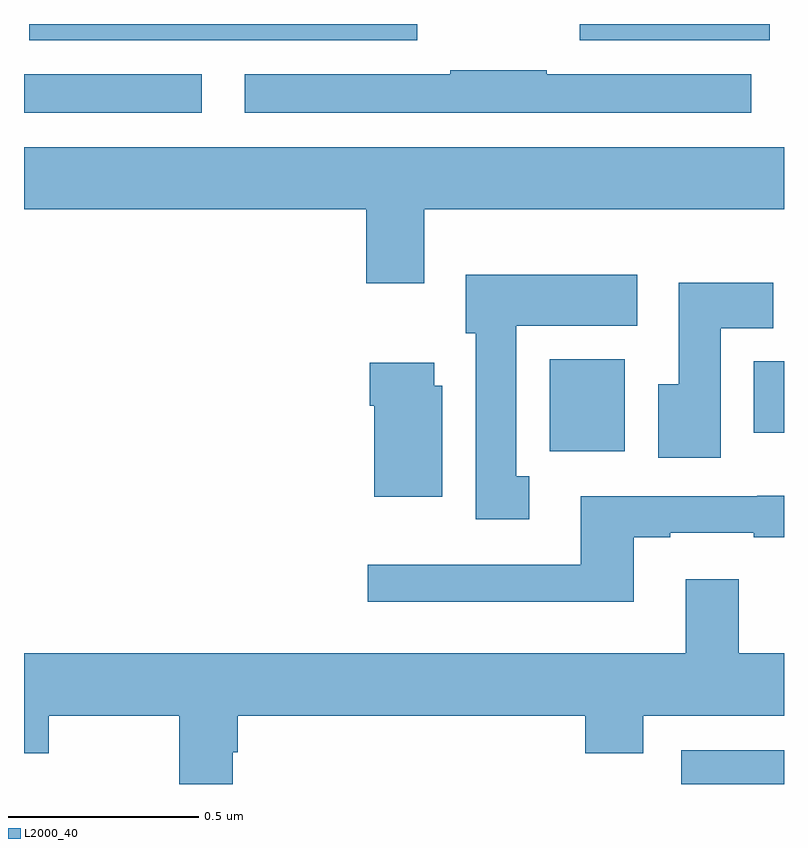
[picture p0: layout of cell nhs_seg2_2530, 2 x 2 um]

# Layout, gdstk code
import gdstk
lib = gdstk.Library(unit=1e-6, precision=1e-09)
def R(c, l, rs):  # rectangles x0, y0, x1, y1
    for r in rs: c.add(gdstk.rectangle(r[:2], r[2:], *l))
def P(c, l, *ps):  # polygons
    for p in ps: c.add(gdstk.Polygon(p, *l))
L2000_40 = (2000, 40)

nhs_seg2_2530 = lib.new_cell('nhs_seg2_2530')
R(nhs_seg2_2530, L2000_40, [(143.73,636.8,144,636.889), (143.384,637.676,143.581,637.918), (143.921,637.724,144,637.912), (142,638.567,142.468,638.668), (142.014,638.757,143.035,638.8), (143.463,638.757,143.963,638.8)])
P(nhs_seg2_2530, L2000_40, [(143.914,638.668),(143.375,638.668),(143.375,638.678),(143.122,638.678),(143.122,638.668),(142.581,638.668),(142.581,638.567),(143.914,638.567)],
  [(143.053,638.312),(144,638.312),(144,638.476),(142,638.476),(142,638.312),(142.901,638.312),(142.901,638.118),(143.053,638.118)],
  [(143.329,637.61),(143.296,637.61),(143.296,638.006),(143.614,638.006),(143.614,638.14),(143.162,638.14),(143.162,637.986),(143.189,637.986),(143.189,637.497),(143.329,637.497)],
  [(143.833,638),(143.972,638),(143.972,638.119),(143.723,638.119),(143.723,637.852),(143.669,637.852),(143.669,637.659),(143.833,637.659)],
  [(143.101,637.848),(143.08,637.848),(143.08,637.909),(142.91,637.909),(142.91,637.796),(142.922,637.796),(142.922,637.556),(143.101,637.556)],
  [(143.605,637.449),(143.701,637.449),(143.701,637.461),(143.921,637.461),(143.921,637.449),(144,637.449),(144,637.558),(143.929,637.558),(143.929,637.557),(143.465,637.557),(143.465,637.377),(142.905,637.377),(142.905,637.28),(143.605,637.28)],
  [(142,636.881),(142.065,636.881),(142.065,636.98),(142.409,636.98),(142.409,636.8),(142.549,636.8),(142.549,636.884),(142.562,636.884),(142.562,636.98),(143.477,636.98),(143.477,636.881),(143.629,636.881),(143.629,636.98),(144,636.98),(144,637.144),(143.881,637.144),(143.881,637.339),(143.741,637.339),(143.741,637.144),(142,637.144)])

lib.write_gds('nhs_seg2_2530.gds')
